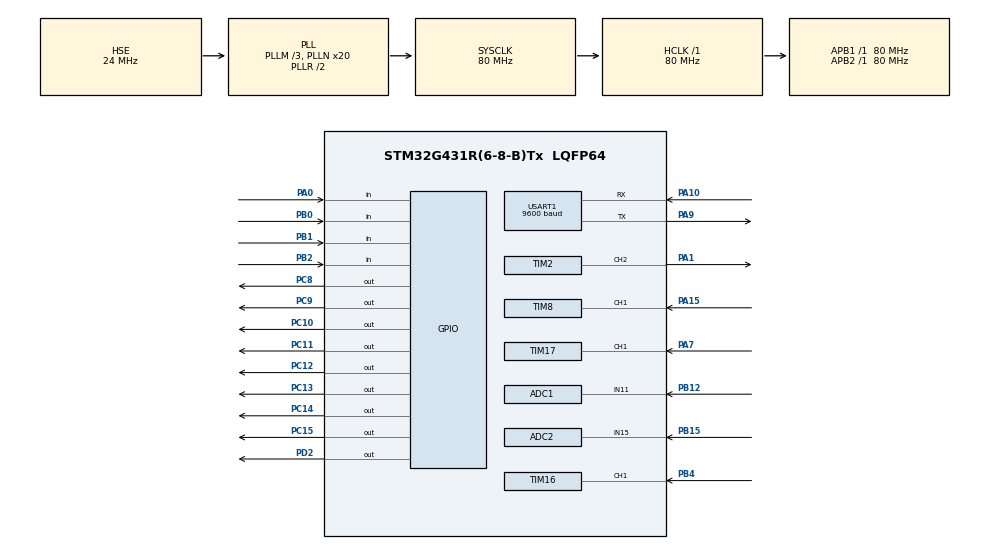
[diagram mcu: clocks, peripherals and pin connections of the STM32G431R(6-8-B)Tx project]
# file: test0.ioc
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ADC1.Channel-0\#ChannelRegularConversion=ADC_CHANNEL_11
ADC1.NbrOfConversionFlag=1
ADC1.OffsetNumber-0\#ChannelRegularConversion=ADC_OFFSET_NONE
ADC1.Rank-0\#ChannelRegularConversion=1
ADC1.SamplingTime-0\#ChannelRegularConversion=ADC_SAMPLETIME_2CYCLES_5
ADC1.master=1
ADC2.Channel-0\#ChannelRegularConversion=ADC_CHANNEL_15
ADC2.NbrOfConversionFlag=1
ADC2.OffsetNumber-0\#ChannelRegularConversion=ADC_OFFSET_NONE
ADC2.Rank-0\#ChannelRegularConversion=1
ADC2.SamplingTime-0\#ChannelRegularConversion=ADC_SAMPLETIME_2CYCLES_5
Dma.Request0=USART1_RX
Dma.Request1=USART1_TX
Dma.USART1_RX.0.Direction=DMA_PERIPH_TO_MEMORY
Dma.USART1_RX.0.EventEnable=DISABLE
Dma.USART1_RX.0.Instance=DMA1_Channel1
Dma.USART1_RX.0.MemDataAlignment=DMA_MDATAALIGN_BYTE
Dma.USART1_RX.0.MemInc=DMA_MINC_ENABLE
Dma.USART1_RX.0.Mode=DMA_NORMAL
Dma.USART1_RX.0.PeriphDataAlignment=DMA_PDATAALIGN_BYTE
Dma.USART1_RX.0.PeriphInc=DMA_PINC_DISABLE
Dma.USART1_RX.0.Polarity=HAL_DMAMUX_REQ_GEN_RISING
Dma.USART1_RX.0.Priority=DMA_PRIORITY_LOW
Dma.USART1_RX.0.RequestNumber=1
Dma.USART1_RX.0.SignalID=NONE
Dma.USART1_RX.0.SyncEnable=DISABLE
Dma.USART1_RX.0.SyncPolarity=HAL_DMAMUX_SYNC_NO_EVENT
Dma.USART1_RX.0.SyncRequestNumber=1
Dma.USART1_RX.0.SyncSignalID=NONE
Dma.USART1_TX.1.Direction=DMA_MEMORY_TO_PERIPH
Dma.USART1_TX.1.EventEnable=DISABLE
Dma.USART1_TX.1.Instance=DMA1_Channel2
Dma.USART1_TX.1.MemDataAlignment=DMA_MDATAALIGN_BYTE
Dma.USART1_TX.1.MemInc=DMA_MINC_ENABLE
Dma.USART1_TX.1.Mode=DMA_NORMAL
Dma.USART1_TX.1.PeriphDataAlignment=DMA_PDATAALIGN_BYTE
Dma.USART1_TX.1.PeriphInc=DMA_PINC_DISABLE
Dma.USART1_TX.1.Polarity=HAL_DMAMUX_REQ_GEN_RISING
Dma.USART1_TX.1.Priority=DMA_PRIORITY_LOW
Dma.USART1_TX.1.RequestNumber=1
Dma.USART1_TX.1.SignalID=NONE
Dma.USART1_TX.1.SyncEnable=DISABLE
Dma.USART1_TX.1.SyncPolarity=HAL_DMAMUX_SYNC_NO_EVENT
Dma.USART1_TX.1.SyncRequestNumber=1
Dma.USART1_TX.1.SyncSignalID=NONE
Mcu.Family=STM32G4
Mcu.Name=STM32G431R(6-8-B)Tx
Mcu.Package=LQFP64
NVIC.DMA1_Channel1_IRQn=true\:0\:0\:false\:false\:true\:false\:true\:true
NVIC.DMA1_Channel2_IRQn=true\:0\:0\:false\:false\:true\:false\:true\:true
NVIC.PriorityGroup=NVIC_PRIORITYGROUP_4
NVIC.RTC_Alarm_IRQn=true\:0\:0\:false\:false\:true\:true\:true\:true
NVIC.TIM1_TRG_COM_TIM17_IRQn=true\:0\:0\:false\:false\:true\:true\:true\:true
NVIC.TIM1_UP_TIM16_IRQn=true\:0\:0\:false\:false\:true\:true\:true\:true
NVIC.TIM8_CC_IRQn=true\:0\:0\:false\:false\:true\:true\:true\:true
NVIC.USART1_IRQn=true\:0\:0\:false\:false\:true\:true\:true\:true
PA0.GPIO_Mode=GPIO_MODE_INPUT
PA0.GPIO_PuPd=GPIO_PULLUP
PA0.Signal=GPIO_Input
PA1.Signal=S_TIM2_CH2
PA10.Mode=Asynchronous
PA10.Signal=USART1_RX
PA13.Mode=Serial_Wire
PA13.Signal=SYS_JTMS-SWDIO
PA14.Mode=Serial_Wire
PA14.Signal=SYS_JTCK-SWCLK
PA15.Signal=S_TIM8_CH1
PA7.Signal=S_TIM17_CH1
PA9.Mode=Asynchronous
PA9.Signal=USART1_TX
PB0.GPIO_Mode=GPIO_MODE_INPUT
PB0.GPIO_PuPd=GPIO_PULLUP
PB0.Signal=GPIO_Input
PB1.GPIO_Mode=GPIO_MODE_INPUT
PB1.GPIO_PuPd=GPIO_PULLUP
PB1.Signal=GPIO_Input
PB12.Mode=IN11-Single-Ended
PB12.Signal=ADC1_IN11
PB15.Mode=IN15-Single-Ended
PB15.Signal=ADC2_IN15
PB2.GPIO_Mode=GPIO_MODE_INPUT
PB2.GPIO_PuPd=GPIO_PULLUP
PB2.Signal=GPIO_Input
PB4.Signal=S_TIM16_CH1
PC10.PinState=GPIO_PIN_SET
PC10.Signal=GPIO_Output
PC11.PinState=GPIO_PIN_SET
PC11.Signal=GPIO_Output
PC12.PinState=GPIO_PIN_SET
PC12.Signal=GPIO_Output
PC13.PinState=GPIO_PIN_SET
PC13.Signal=GPIO_Output
PC14-OSC32_IN.PinState=GPIO_PIN_SET
PC14-OSC32_IN.Signal=GPIO_Output
PC15-OSC32_OUT.PinState=GPIO_PIN_SET
PC15-OSC32_OUT.Signal=GPIO_Output
PC8.PinState=GPIO_PIN_SET
PC8.Signal=GPIO_Output
PC9.PinState=GPIO_PIN_SET
PC9.Signal=GPIO_Output
PD2.PinState=GPIO_PIN_SET
PD2.Signal=GPIO_Output
PF0-OSC_IN.Mode=HSE-External-Oscillator
PF0-OSC_IN.Signal=RCC_OSC_IN
PF1-OSC_OUT.Mode=HSE-External-Oscillator
PF1-OSC_OUT.Signal=RCC_OSC_OUT
ProjectManager.HeapSize=0x200
ProjectManager.StackSize=0x400
ProjectManager.TargetToolchain=MDK-ARM V5.32
RCC.ADC12Freq_Value=80000000
RCC.AHBFreq_Value=80000000
RCC.APB1Freq_Value=80000000
RCC.APB1TimFreq_Value=80000000
RCC.APB2Freq_Value=80000000
RCC.APB2TimFreq_Value=80000000
RCC.CortexFreq_Value=80000000
RCC.EXTERNAL_CLOCK_VALUE=12288000
RCC.HCLKFreq_Value=80000000
RCC.HSE_VALUE=24000000
RCC.HSI48_VALUE=48000000
RCC.HSI_VALUE=16000000
RCC.LSE_VALUE=32768
RCC.PLLM=RCC_PLLM_DIV3
RCC.PLLN=20
RCC.PLLSourceVirtual=RCC_PLLSOURCE_HSE
RCC.SYSCLKFreq_VALUE=80000000
RCC.SYSCLKSource=RCC_SYSCLKSOURCE_PLLCLK
RCC.USBFreq_Value=80000000
RCC.VCOOutputFreq_Value=160000000
RTC.Alarm-Alarm\ A=RTC_ALARM_A
RTC.AlarmMaskDateWeekDay-Alarm\ A=RTC_ALARMMASK_DATEWEEKDAY
RTC.Date=10
RTC.Format=RTC_FORMAT_BIN
RTC.Hours=23
RTC.Hours_A-Alarm\ A=23
RTC.Minutes=20
RTC.Minutes_A-Alarm\ A=20
RTC.Month=RTC_MONTH_OCTOBER
RTC.Seconds=20
RTC.Seconds_A-Alarm\ A=30
RTC.Year=25
SH.S_TIM16_CH1.0=TIM16_CH1,Input_Capture1_from_TI1
SH.S_TIM17_CH1.0=TIM17_CH1,Input_Capture1_from_TI1
SH.S_TIM2_CH2.0=TIM2_CH2,PWM Generation2 CH2
SH.S_TIM8_CH1.0=TIM8_CH1,Input_Capture1_from_TI1
TIM16.Channel=TIM_CHANNEL_1
TIM16.Prescaler=80-1
TIM17.Channel=TIM_CHANNEL_1
TIM17.Prescaler=80-1
TIM2.Channel-PWM\ Generation2\ CH2=TIM_CHANNEL_2
TIM2.PeriodNoDither=100-1
TIM2.Prescaler=800-1
TIM3.Prescaler=8000-1
TIM4.Prescaler=8000-1
TIM8.Channel-Input_Capture1_from_TI1=TIM_CHANNEL_1
TIM8.Prescaler=80-1
USART1.BaudRate=9600
USART1.VirtualMode-Asynchronous=VM_ASYNC
VP_RTC_VS_RTC_Activate.Mode=RTC_Enabled
VP_RTC_VS_RTC_Alarm_A_Intern.Mode=Alarm A
VP_RTC_VS_RTC_Calendar.Mode=RTC_Calendar
VP_SYS_VS_DBSignals.Mode=DisableDeadBatterySignals
VP_TIM16_VS_ClockSourceINT.Mode=Enable_Timer
VP_TIM17_VS_ClockSourceINT.Mode=Enable_Timer
VP_TIM2_VS_ClockSourceINT.Mode=Internal
VP_TIM3_VS_ClockSourceINT.Mode=Internal
VP_TIM4_VS_ClockSourceINT.Mode=Internal
board=custom

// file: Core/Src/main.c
/* USER CODE BEGIN Header */
/**
  ******************************************************************************
  * @file           : main.c
  * @brief          : Main program body
  ******************************************************************************
  * @attention
  *
  * Copyright (c) 2025 STMicroelectronics.
  * All rights reserved.
  *
  * This software is licensed under terms that can be found in the LICENSE file
  * in the root directory of this software component.
  * If no LICENSE file comes with this software, it is provided AS-IS.
  *
  ******************************************************************************
  */
/* USER CODE END Header */
#include "main.h"
#include "adc.h"
#include "dma.h"
#include "rtc.h"
#include "tim.h"
#include "usart.h"
#include "gpio.h"

/* USER CODE BEGIN Includes */
#include "headfile.h"
/* USER CODE END Includes */

void SystemClock_Config(void);

int main(void)
{

  /* MCU Configuration--------------------------------------------------------*/

  /* Reset of all peripherals, Initializes the Flash interface and the Systick. */
  HAL_Init();

  /* Configure the system clock */
  SystemClock_Config();

  /* Initialize all configured peripherals */
  MX_GPIO_Init();
  MX_DMA_Init();
  MX_TIM2_Init();
  MX_TIM3_Init();
  MX_ADC1_Init();
  MX_ADC2_Init();
  MX_USART1_UART_Init();
  MX_TIM4_Init();
  MX_TIM17_Init();
  MX_TIM8_Init();
  MX_TIM16_Init();
  MX_RTC_Init();
  /* USER CODE BEGIN 2 */

	HAL_GPIO_WritePin(GPIOD,GPIO_PIN_2,GPIO_PIN_RESET);
	key_init();
	LCD_Init();
	LCD_Clear(Black);
	LCD_SetBackColor(Black);
	LCD_SetTextColor(White);
	I2CInit();

	HAL_TIM_PWM_Start(&htim2,TIM_CHANNEL_2);
	TIM2->CCR2 = 50;        	                          //PWM set-----PA1
	HAL_TIM_IC_Start_IT(&htim17,TIM_CHANNEL_1);           //shu ru bu huo -----PA7

	HAL_TIM_IC_Start_IT(&htim16,TIM_CHANNEL_1);           //dui 555 jin xing shu ru bu huo
	HAL_TIM_IC_Start_IT(&htim8,TIM_CHANNEL_1);

	//HAL_TIM_Base_Start_IT(&htim2);
	HAL_TIM_Base_Start(&htim3);                           //KEY
	HAL_TIM_Base_Start(&htim4);                           //UART1
	//HAL_UART_Receive_IT(&huart1,&receive_data,1);       //UART Interrupt
	HAL_UARTEx_ReceiveToIdle_DMA(&huart1,receiveData,sizeof(receiveData));

	printf("SYS-Test\r\n");
  /* USER CODE END 2 */

  /* Infinite loop */
  /* USER CODE BEGIN WHILE */
  while (1)
  {

	key_scan2();
	lcd_show();
	RTC_GET();

    /* USER CODE END WHILE */

  }
}

void SystemClock_Config(void)
{
  RCC_OscInitTypeDef RCC_OscInitStruct = {0};
  RCC_ClkInitTypeDef RCC_ClkInitStruct = {0};

  /** Configure the main internal regulator output voltage
  */
  HAL_PWREx_ControlVoltageScaling(PWR_REGULATOR_VOLTAGE_SCALE1);

  /** Initializes the RCC Oscillators according to the specified parameters
  * in the RCC_OscInitTypeDef structure.
  */
  RCC_OscInitStruct.OscillatorType = RCC_OSCILLATORTYPE_LSI|RCC_OSCILLATORTYPE_HSE;
  RCC_OscInitStruct.HSEState = RCC_HSE_ON;
  RCC_OscInitStruct.LSIState = RCC_LSI_ON;
  RCC_OscInitStruct.PLL.PLLState = RCC_PLL_ON;
  RCC_OscInitStruct.PLL.PLLSource = RCC_PLLSOURCE_HSE;
  RCC_OscInitStruct.PLL.PLLM = RCC_PLLM_DIV3;
  RCC_OscInitStruct.PLL.PLLN = 20;
  RCC_OscInitStruct.PLL.PLLP = RCC_PLLP_DIV2;
  RCC_OscInitStruct.PLL.PLLQ = RCC_PLLQ_DIV2;
  RCC_OscInitStruct.PLL.PLLR = RCC_PLLR_DIV2;
  if (HAL_RCC_OscConfig(&RCC_OscInitStruct) != HAL_OK)
  {
    Error_Handler();
  }

  /** Initializes the CPU, AHB and APB buses clocks
  */
  RCC_ClkInitStruct.ClockType = RCC_CLOCKTYPE_HCLK|RCC_CLOCKTYPE_SYSCLK
                              |RCC_CLOCKTYPE_PCLK1|RCC_CLOCKTYPE_PCLK2;
  RCC_ClkInitStruct.SYSCLKSource = RCC_SYSCLKSOURCE_PLLCLK;
  RCC_ClkInitStruct.AHBCLKDivider = RCC_SYSCLK_DIV1;
  RCC_ClkInitStruct.APB1CLKDivider = RCC_HCLK_DIV1;
  RCC_ClkInitStruct.APB2CLKDivider = RCC_HCLK_DIV1;

  if (HAL_RCC_ClockConfig(&RCC_ClkInitStruct, FLASH_LATENCY_2) != HAL_OK)
  {
    Error_Handler();
  }
}

void Error_Handler(void)
{
  __disable_irq();
  while (1)
  {
  }
}
